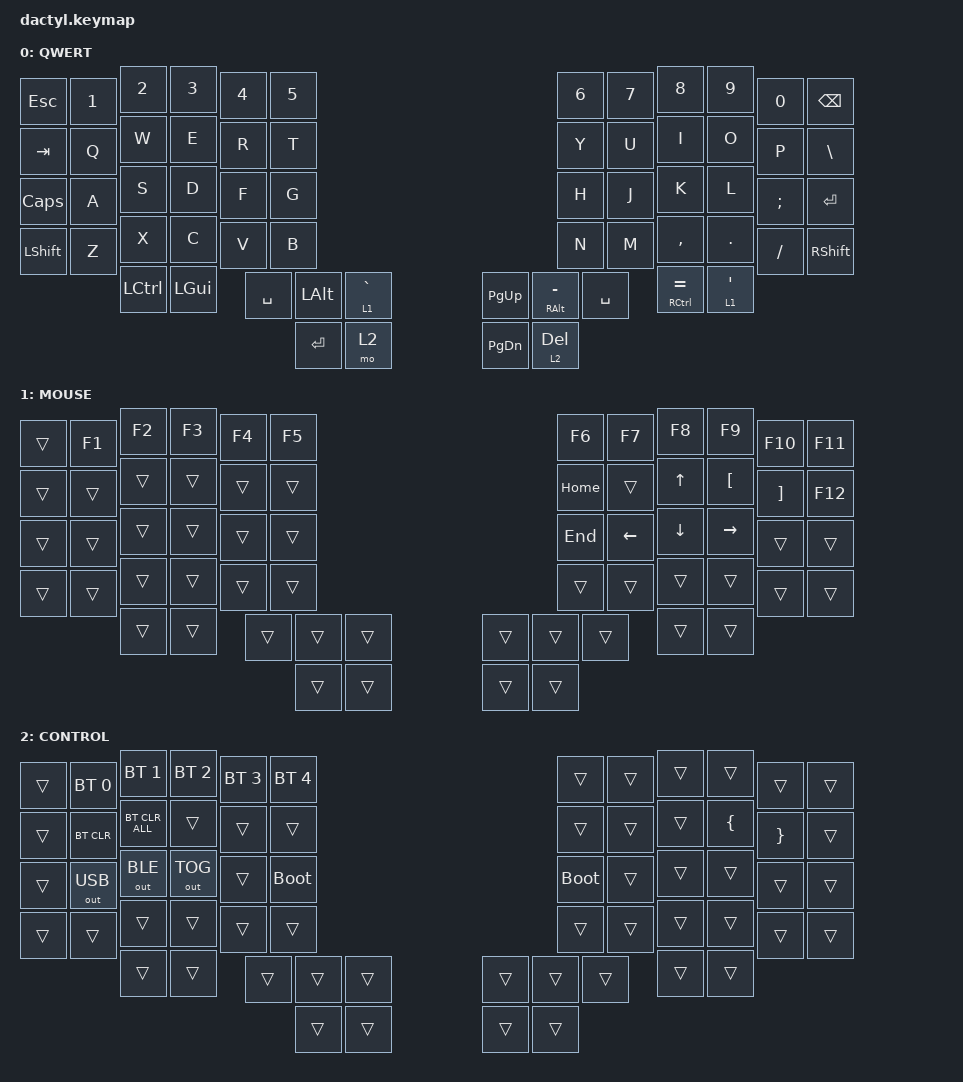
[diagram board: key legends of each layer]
#include <behaviors.dtsi>
#include <dt-bindings/zmk/bt.h>
#include <dt-bindings/zmk/keys.h>
#include <dt-bindings/zmk/outputs.h>

&lt {
    flavor = "tap-preferred";
    quick-tap-ms = <180>;
};

&mt {
    quick-tap-ms = <180>;
    flavor = "tap-preferred";
};

/ {
    keymap {
        compatible = "zmk,keymap";

        LAYER0 {
            bindings = <
&kp ESC     &kp N1     &kp N2    &kp N3     &kp N4     &kp N5       &kp N6     &kp N7          &kp N8     &kp N9           &kp N0     &kp BACKSPACE
&kp TAB     &kp Q      &kp W     &kp E      &kp R      &kp T        &kp Y      &kp U           &kp I      &kp O            &kp P      &kp BSLH
&kp CAPS    &kp A      &kp S     &kp D      &kp F      &kp G        &kp H      &kp J           &kp K      &kp L            &kp SEMI   &kp ENTER
&kp LSHIFT  &kp Z      &kp X     &kp C      &kp V      &kp B        &kp N      &kp M           &kp COMMA  &kp DOT          &kp SLASH  &kp RSHIFT
            &kp LCTRL  &kp LGUI  &kp SPACE  &kp LALT   &lt 1 GRAVE  &kp PG_UP  &mt RALT MINUS  &kp SPACE  &mt RCTRL EQUAL  &lt 1 SQT
                                            &kp ENTER  &mo 2        &kp PG_DN  &lt 2 DEL
            >;

            display-name = "QWERT";
        };

        layer_1 {
            bindings = <
&trans  &kp F1  &kp F2  &kp F3  &kp F4  &kp F5  &kp F6    &kp F7    &kp F8    &kp F9     &kp F10   &kp F11
&trans  &trans  &trans  &trans  &trans  &trans  &kp HOME  &trans    &kp UP    &kp LBKT   &kp RBKT  &kp F12
&trans  &trans  &trans  &trans  &trans  &trans  &kp END   &kp LEFT  &kp DOWN  &kp RIGHT  &trans    &trans
&trans  &trans  &trans  &trans  &trans  &trans  &trans    &trans    &trans    &trans     &trans    &trans
        &trans  &trans  &trans  &trans  &trans  &trans    &trans    &trans    &trans     &trans
                                &trans  &trans  &trans    &trans
            >;

            display-name = "MOUSE";
        };

        layer_2 {
            display-name = "CONTROL";
            bindings = <
&trans  &bt BT_SEL 0  &bt BT_SEL 1    &bt BT_SEL 2  &bt BT_SEL 3  &bt BT_SEL 4  &trans       &trans  &trans  &trans    &trans    &trans
&trans  &bt BT_CLR    &bt BT_CLR_ALL  &trans        &trans        &trans        &trans       &trans  &trans  &kp LBRC  &kp RBRC  &trans
&trans  &out OUT_USB  &out OUT_BLE    &out OUT_TOG  &trans        &bootloader   &bootloader  &trans  &trans  &trans    &trans    &trans
&trans  &trans        &trans          &trans        &trans        &trans        &trans       &trans  &trans  &trans    &trans    &trans
        &trans        &trans          &trans        &trans        &trans        &trans       &trans  &trans  &trans    &trans
                                                    &trans        &trans        &trans       &trans
            >;
        };
    };
};
